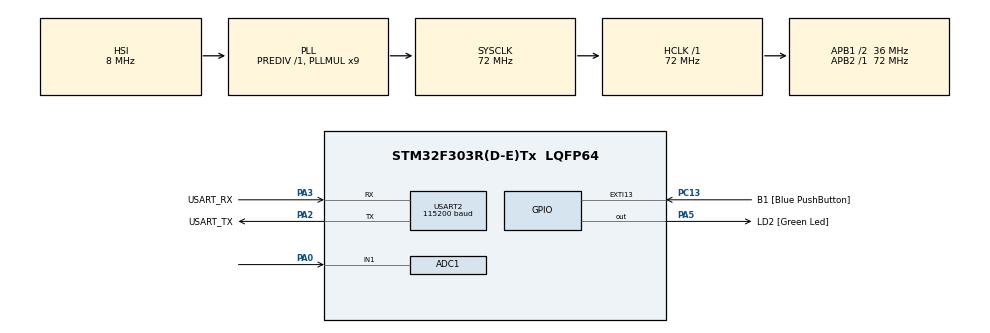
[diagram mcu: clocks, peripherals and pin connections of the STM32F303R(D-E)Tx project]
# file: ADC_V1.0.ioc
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ADC1.Channel-0\#ChannelRegularConversion=ADC_CHANNEL_1
ADC1.ClockPrescaler=ADC_CLOCK_SYNC_PCLK_DIV1
ADC1.ContinuousConvMode=ENABLE
ADC1.NbrOfConversion=1
ADC1.NbrOfConversionFlag=1
ADC1.Offset-0\#ChannelRegularConversion=0
ADC1.OffsetNumber-0\#ChannelRegularConversion=ADC_OFFSET_NONE
ADC1.Rank-0\#ChannelRegularConversion=1
ADC1.SamplingTime-0\#ChannelRegularConversion=ADC_SAMPLETIME_1CYCLE_5
ADC1.master=1
Mcu.Family=STM32F3
Mcu.Name=STM32F303R(D-E)Tx
Mcu.Package=LQFP64
NVIC.PriorityGroup=NVIC_PRIORITYGROUP_0
PA0.Mode=IN1-Single-Ended
PA0.Signal=ADC1_IN1
PA13.GPIO_Label=TMS
PA13.Mode=Serial_Wire
PA13.Signal=SYS_JTMS-SWDIO
PA14.GPIO_Label=TCK
PA14.Mode=Serial_Wire
PA14.Signal=SYS_JTCK-SWCLK
PA2.GPIO_Label=USART_TX
PA2.GPIO_Mode=GPIO_MODE_AF_PP
PA2.GPIO_PuPd=GPIO_NOPULL
PA2.GPIO_Speed=GPIO_SPEED_FREQ_LOW
PA2.Mode=Asynchronous
PA2.Signal=USART2_TX
PA3.GPIO_Label=USART_RX
PA3.GPIO_Mode=GPIO_MODE_AF_PP
PA3.GPIO_PuPd=GPIO_NOPULL
PA3.GPIO_Speed=GPIO_SPEED_FREQ_LOW
PA3.Mode=Asynchronous
PA3.Signal=USART2_RX
PA5.GPIO_Label=LD2 [Green Led]
PA5.GPIO_Mode=GPIO_MODE_OUTPUT_PP
PA5.GPIO_PuPd=GPIO_NOPULL
PA5.GPIO_Speed=GPIO_SPEED_FREQ_LOW
PA5.Signal=GPIO_Output
PB3.GPIO_Label=SWO
PB3.Signal=SYS_JTDO-TRACESWO
PC13.GPIO_Label=B1 [Blue PushButton]
PC13.GPIO_ModeDefaultEXTI=GPIO_MODE_IT_FALLING
PC13.Signal=GPXTI13
PC14-OSC32_IN.Mode=LSE-External-Oscillator
PC14-OSC32_IN.Signal=RCC_OSC32_IN
PC15-OSC32_OUT.Mode=LSE-External-Oscillator
PC15-OSC32_OUT.Signal=RCC_OSC32_OUT
PF0-OSC_IN.Mode=HSE-External-Clock-Source
PF0-OSC_IN.Signal=RCC_OSC_IN
PF1-OSC_OUT.Signal=RCC_OSC_OUT
ProjectManager.HeapSize=0x200
ProjectManager.StackSize=0x400
ProjectManager.TargetToolchain=STM32CubeIDE
RCC.AHBFreq_Value=72000000
RCC.APB1CLKDivider=RCC_HCLK_DIV2
RCC.APB1Freq_Value=36000000
RCC.APB1TimFreq_Value=72000000
RCC.APB2Freq_Value=72000000
RCC.APB2TimFreq_Value=72000000
RCC.CortexFreq_Value=72000000
RCC.HCLKFreq_Value=72000000
RCC.HSE_VALUE=8000000
RCC.HSI_VALUE=8000000
RCC.PLLM=8
RCC.PLLMUL=RCC_PLL_MUL9
RCC.PLLN=336
RCC.PLLP=RCC_PLLP_DIV4
RCC.PLLQ=7
RCC.RCC_PLLsource_Clock_Source_FROM_HSE=RCC_HSE_PREDIV_DIV2
RCC.SYSCLKFreq_VALUE=72000000
RCC.SYSCLKSourceVirtual=RCC_SYSCLKSOURCE_PLLCLK
RCC.USBFreq_Value=72000000
USART2.BaudRate=115200
USART2.VirtualMode-Asynchronous=VM_ASYNC
board=NUCLEO-F303RE

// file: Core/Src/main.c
/* USER CODE BEGIN Header */
/**
  ******************************************************************************
  * @file           : main.c
  * @brief          : Main program body
  ******************************************************************************
  * @attention
  *
  * Copyright (c) 2024 STMicroelectronics.
  * All rights reserved.
  *
  * This software is licensed under terms that can be found in the LICENSE file
  * in the root directory of this software component.
  * If no LICENSE file comes with this software, it is provided AS-IS.
  *
  ******************************************************************************
  */
/* USER CODE END Header */
#include "main.h"

/* USER CODE BEGIN Includes */
#include <stdio.h>
#include <string.h>
#include <math.h>
/* USER CODE END Includes */

ADC_HandleTypeDef hadc1;

UART_HandleTypeDef huart2;

/* USER CODE BEGIN PV */
uint32_t adc_values = 0;
char uart_buffer[18];
/* USER CODE END PV */

void SystemClock_Config(void);
static void MX_GPIO_Init(void);
static void MX_USART2_UART_Init(void);
static void MX_ADC1_Init(void);
/* USER CODE BEGIN PFP */
void send_adc_data_over_uart(uint32_t voltage);
/* USER CODE END PFP */

int main(void)
{

  /* MCU Configuration--------------------------------------------------------*/

  /* Reset of all peripherals, Initializes the Flash interface and the Systick. */
  HAL_Init();

  /* Configure the system clock */
  SystemClock_Config();

  /* Initialize all configured peripherals */
  MX_GPIO_Init();
  MX_USART2_UART_Init();
  MX_ADC1_Init();

  /* Infinite loop */
  while (1)
  {

    /* USER CODE BEGIN 3 */
	  //get adc value
	  HAL_ADC_Start(&hadc1); // Start ADC Conversion
	  HAL_ADC_PollForConversion(&hadc1, HAL_MAX_DELAY); // Poll ADC1 Peripheral
	  adc_values = HAL_ADC_GetValue(&hadc1); // Read ADC Conversion Resulte
	  uint32_t voltage = adc_values - 100;

  	  send_adc_data_over_uart(voltage);
  	  HAL_Delay(100);
  }
  /* USER CODE END 3 */
}

void SystemClock_Config(void)
{
  RCC_OscInitTypeDef RCC_OscInitStruct = {0};
  RCC_ClkInitTypeDef RCC_ClkInitStruct = {0};
  RCC_PeriphCLKInitTypeDef PeriphClkInit = {0};

  /** Initializes the RCC Oscillators according to the specified parameters
  * in the RCC_OscInitTypeDef structure.
  */
  RCC_OscInitStruct.OscillatorType = RCC_OSCILLATORTYPE_HSI;
  RCC_OscInitStruct.HSIState = RCC_HSI_ON;
  RCC_OscInitStruct.HSICalibrationValue = RCC_HSICALIBRATION_DEFAULT;
  RCC_OscInitStruct.PLL.PLLState = RCC_PLL_ON;
  RCC_OscInitStruct.PLL.PLLSource = RCC_PLLSOURCE_HSI;
  RCC_OscInitStruct.PLL.PLLMUL = RCC_PLL_MUL9;
  RCC_OscInitStruct.PLL.PREDIV = RCC_PREDIV_DIV1;
  if (HAL_RCC_OscConfig(&RCC_OscInitStruct) != HAL_OK)
  {
    Error_Handler();
  }

  /** Initializes the CPU, AHB and APB buses clocks
  */
  RCC_ClkInitStruct.ClockType = RCC_CLOCKTYPE_HCLK|RCC_CLOCKTYPE_SYSCLK
                              |RCC_CLOCKTYPE_PCLK1|RCC_CLOCKTYPE_PCLK2;
  RCC_ClkInitStruct.SYSCLKSource = RCC_SYSCLKSOURCE_PLLCLK;
  RCC_ClkInitStruct.AHBCLKDivider = RCC_SYSCLK_DIV1;
  RCC_ClkInitStruct.APB1CLKDivider = RCC_HCLK_DIV2;
  RCC_ClkInitStruct.APB2CLKDivider = RCC_HCLK_DIV1;

  if (HAL_RCC_ClockConfig(&RCC_ClkInitStruct, FLASH_LATENCY_2) != HAL_OK)
  {
    Error_Handler();
  }
  PeriphClkInit.PeriphClockSelection = RCC_PERIPHCLK_USART2;
  PeriphClkInit.Usart2ClockSelection = RCC_USART2CLKSOURCE_PCLK1;
  if (HAL_RCCEx_PeriphCLKConfig(&PeriphClkInit) != HAL_OK)
  {
    Error_Handler();
  }
}

static void MX_ADC1_Init(void)
{

  ADC_MultiModeTypeDef multimode = {0};
  ADC_ChannelConfTypeDef sConfig = {0};

  /** Common config
  */
  hadc1.Instance = ADC1;
  hadc1.Init.ClockPrescaler = ADC_CLOCK_SYNC_PCLK_DIV1;
  hadc1.Init.Resolution = ADC_RESOLUTION_12B;
  hadc1.Init.ScanConvMode = ADC_SCAN_DISABLE;
  hadc1.Init.ContinuousConvMode = ENABLE;
  hadc1.Init.DiscontinuousConvMode = DISABLE;
  hadc1.Init.ExternalTrigConvEdge = ADC_EXTERNALTRIGCONVEDGE_NONE;
  hadc1.Init.ExternalTrigConv = ADC_SOFTWARE_START;
  hadc1.Init.DataAlign = ADC_DATAALIGN_RIGHT;
  hadc1.Init.NbrOfConversion = 1;
  hadc1.Init.DMAContinuousRequests = DISABLE;
  hadc1.Init.EOCSelection = ADC_EOC_SINGLE_CONV;
  hadc1.Init.LowPowerAutoWait = DISABLE;
  hadc1.Init.Overrun = ADC_OVR_DATA_OVERWRITTEN;
  if (HAL_ADC_Init(&hadc1) != HAL_OK)
  {
    Error_Handler();
  }

  /** Configure the ADC multi-mode
  */
  multimode.Mode = ADC_MODE_INDEPENDENT;
  if (HAL_ADCEx_MultiModeConfigChannel(&hadc1, &multimode) != HAL_OK)
  {
    Error_Handler();
  }

  /** Configure Regular Channel
  */
  sConfig.Channel = ADC_CHANNEL_1;
  sConfig.Rank = ADC_REGULAR_RANK_1;
  sConfig.SingleDiff = ADC_SINGLE_ENDED;
  sConfig.SamplingTime = ADC_SAMPLETIME_1CYCLE_5;
  sConfig.OffsetNumber = ADC_OFFSET_NONE;
  sConfig.Offset = 0;
  if (HAL_ADC_ConfigChannel(&hadc1, &sConfig) != HAL_OK)
  {
    Error_Handler();
  }

}

static void MX_USART2_UART_Init(void)
{

  huart2.Instance = USART2;
  huart2.Init.BaudRate = 115200;
  huart2.Init.WordLength = UART_WORDLENGTH_8B;
  huart2.Init.StopBits = UART_STOPBITS_1;
  huart2.Init.Parity = UART_PARITY_NONE;
  huart2.Init.Mode = UART_MODE_TX_RX;
  huart2.Init.HwFlowCtl = UART_HWCONTROL_NONE;
  huart2.Init.OverSampling = UART_OVERSAMPLING_16;
  huart2.Init.OneBitSampling = UART_ONE_BIT_SAMPLE_DISABLE;
  huart2.AdvancedInit.AdvFeatureInit = UART_ADVFEATURE_NO_INIT;
  if (HAL_UART_Init(&huart2) != HAL_OK)
  {
    Error_Handler();
  }

}

static void MX_GPIO_Init(void)
{
  GPIO_InitTypeDef GPIO_InitStruct = {0};

  /* GPIO Ports Clock Enable */
  __HAL_RCC_GPIOC_CLK_ENABLE();
  __HAL_RCC_GPIOF_CLK_ENABLE();
  __HAL_RCC_GPIOA_CLK_ENABLE();
  __HAL_RCC_GPIOB_CLK_ENABLE();

  /*Configure GPIO pin Output Level */
  HAL_GPIO_WritePin(LD2_GPIO_Port, LD2_Pin, GPIO_PIN_RESET);

  /*Configure GPIO pin : B1_Pin */
  GPIO_InitStruct.Pin = B1_Pin;
  GPIO_InitStruct.Mode = GPIO_MODE_IT_FALLING;
  GPIO_InitStruct.Pull = GPIO_NOPULL;
  HAL_GPIO_Init(B1_GPIO_Port, &GPIO_InitStruct);

  /*Configure GPIO pin : LD2_Pin */
  GPIO_InitStruct.Pin = LD2_Pin;
  GPIO_InitStruct.Mode = GPIO_MODE_OUTPUT_PP;
  GPIO_InitStruct.Pull = GPIO_NOPULL;
  GPIO_InitStruct.Speed = GPIO_SPEED_FREQ_LOW;
  HAL_GPIO_Init(LD2_GPIO_Port, &GPIO_InitStruct);

}

/* USER CODE BEGIN 4 */
void send_adc_data_over_uart(uint32_t voltage) {

        int len = snprintf(uart_buffer, sizeof(uart_buffer), "/* %lu */\r\n", voltage);

        HAL_UART_Transmit(&huart2, (uint8_t*)uart_buffer, len, HAL_MAX_DELAY);
}
/* USER CODE END 4 */

void Error_Handler(void)
{
  __disable_irq();
  while (1)
  {
  }
}
